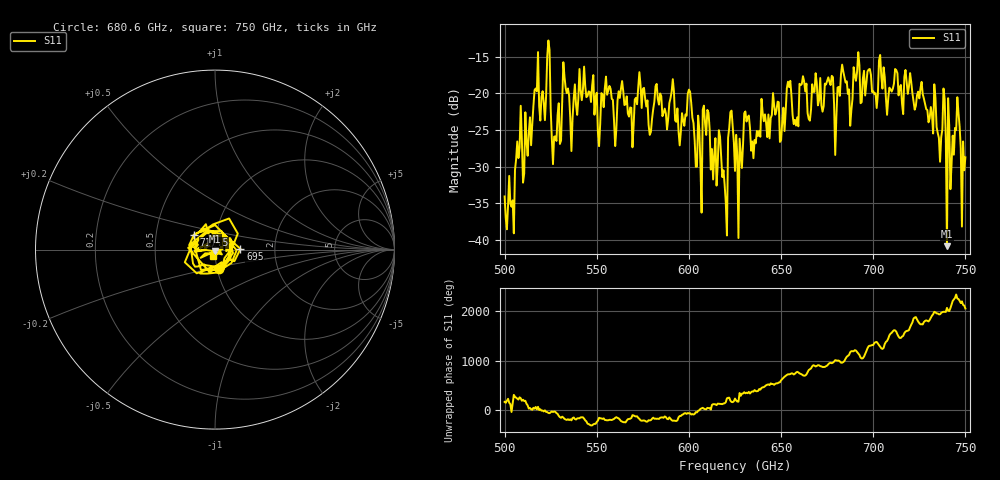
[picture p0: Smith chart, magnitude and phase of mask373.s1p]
!Created with skrf (http://scikit-rf.org).
# GHz S MA R 50.0
!freq magS11 angS11
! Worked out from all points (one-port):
!   401 points, 500 GHz to 750 GHz, reference 50 ohm
!   lowest |S11| = -40.8 dB at 740 GHz (marker M1), VSWR 1.02, Z = 49.9 - j0.901 ohm
!   |S11| at or under -10 dB: start of sweep to end of sweep
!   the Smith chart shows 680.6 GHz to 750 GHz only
!   S11 on the Smith chart (normalised r, x): 680.6 GHz: 1.02, -0.22; 695 GHz: 1.33, +0.01; 717.5 GHz: 0.78, +0.13; 750 GHz: 0.98, -0.07
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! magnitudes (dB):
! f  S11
! 500 GHz  -34.1
! 516.9 GHz  -19.4
! 520.6 GHz  -19.7
! 523.8 GHz  -12.8
! 526.9 GHz  -25.9
! 531.2 GHz  -21.3
! 562.5 GHz  -20.6
! 579.4 GHz  -25.3
! 590.6 GHz  -19.8
! 593.8 GHz  -22.1
! 600.6 GHz  -19.8
! 605.6 GHz  -25.0
! 609.4 GHz  -25.7
! 619.4 GHz  -32.5
! 622.5 GHz  -22.6
! 625 GHz  -30.6
! 656.2 GHz  -23.0
! 676.9 GHz  -18.9
! 680.6 GHz  -19.2
! 683.8 GHz  -17.0
! 687.5 GHz  -24.4
! 695 GHz  -17.0
! 717.5 GHz  -16.8
! 718.8 GHz  -20.1
! 740 GHz  -40.8
! 741.2 GHz  -24.6
! 745.6 GHz  -20.5
! 750 GHz  -28.7
